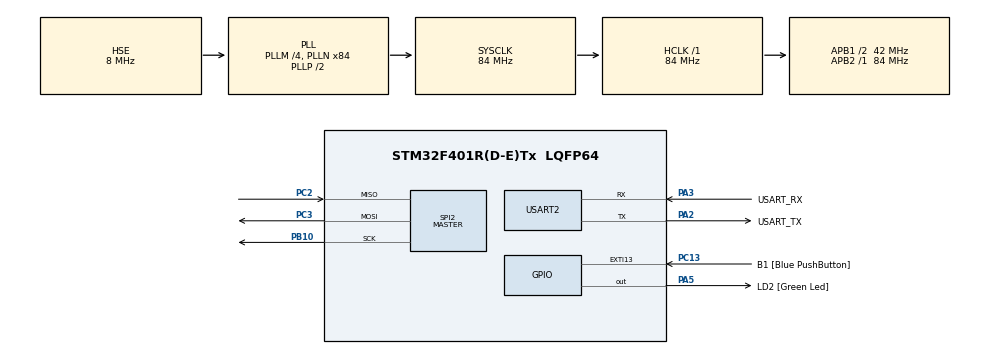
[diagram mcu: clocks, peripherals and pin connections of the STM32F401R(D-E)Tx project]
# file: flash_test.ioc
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Mcu.Family=STM32F4
PC3.Mode=Full_Duplex_Master
RCC.PLLSourceVirtual=RCC_PLLSOURCE_HSE
PC15-OSC32_OUT.Mode=LSE-External-Oscillator
PA2.GPIO_PuPd=GPIO_NOPULL
RCC.CortexFreq_Value=84000000
FREERTOS.Tasks01=defaultTask,0,128,StartDefaultTask,Default,NULL,Dynamic,NULL,NULL;myTask02,-3,128,StartTask02,Default,NULL,Dynamic,NULL,NULL
PC13-ANTI_TAMP.GPIO_PuPd=GPIO_NOPULL
SPI2.VirtualType=VM_MASTER
PB10.Mode=Full_Duplex_Master
PC13-ANTI_TAMP.GPIO_Label=B1 [Blue PushButton]
PA14.GPIO_Label=TCK
PA3.GPIO_PuPd=GPIO_NOPULL
PH1\ -\ OSC_OUT.Mode=HSE-External-Clock-Source
PC2.Signal=SPI2_MISO
PA2.GPIO_Speed=GPIO_SPEED_FREQ_LOW
PC2.Mode=Full_Duplex_Master
RCC.APB1CLKDivider=RCC_HCLK_DIV2
PC14-OSC32_IN.Signal=RCC_OSC32_IN
PA3.GPIO_Speed=GPIO_SPEED_FREQ_LOW
RCC.SYSCLKSource=RCC_SYSCLKSOURCE_PLLCLK
ProjectManager.StackSize=0x400
PA3.Mode=Asynchronous
PA13.Signal=SYS_JTMS-SWDIO
PH0\ -\ OSC_IN.Mode=HSE-External-Clock-Source
PH0\ -\ OSC_IN.Signal=RCC_OSC_IN
ProjectManager.TargetToolchain=TrueSTUDIO
PA3.GPIO_Mode=GPIO_MODE_AF_PP
RCC.HCLKFreq_Value=84000000
RCC.APB2TimFreq_Value=84000000
PC3.Signal=SPI2_MOSI
PC15-OSC32_OUT.Signal=RCC_OSC32_OUT
RCC.AHBFreq_Value=84000000
PB10.Signal=SPI2_SCK
PA5.Signal=GPIO_Output
RCC.HSE_VALUE=8000000
PH1\ -\ OSC_OUT.Signal=RCC_OSC_OUT
board=NUCLEO-F401RE
PC13-ANTI_TAMP.Signal=GPXTI13
RCC.VCOOutputFreq_Value=168000000
RCC.APB2Freq_Value=84000000
PC14-OSC32_IN.Mode=LSE-External-Oscillator
PA14.Mode=Serial_Wire
PA5.GPIO_PuPd=GPIO_NOPULL
NVIC.TIM2_IRQn=true\:0\:0\:false\:false\:true\:false\:false\:true
VP_FREERTOS_VS_CMSIS_V1.Mode=CMSIS_V1
PA13.Mode=Serial_Wire
Mcu.Name=STM32F401R(D-E)Tx
PA2.Signal=USART2_TX
PA13.GPIO_Label=TMS
RCC.48MHZClocksFreq_Value=24000000
PB3.Signal=SYS_JTDO-SWO
RCC.SYSCLKFreq_VALUE=84000000
Mcu.Package=LQFP64
VP_SYS_VS_tim2.Mode=TIM2
NVIC.TimeBase=TIM2_IRQn
SPI2.Mode=SPI_MODE_MASTER
PA5.GPIO_Label=LD2 [Green Led]
USART2.VirtualMode=VM_ASYNC
PC13-ANTI_TAMP.GPIO_ModeDefaultEXTI=GPIO_MODE_IT_FALLING
PA2.GPIO_Label=USART_TX
NVIC.TimeBaseIP=TIM2
PA14.Signal=SYS_JTCK-SWCLK
ProjectManager.HeapSize=0x200
RCC.HSI_VALUE=16000000
PA5.GPIO_Speed=GPIO_SPEED_FREQ_LOW
RCC.PLLQ=7
NVIC.PriorityGroup=NVIC_PRIORITYGROUP_4
RCC.PLLM=4
RCC.PLLN=84
RCC.APB1TimFreq_Value=84000000
PA2.Mode=Asynchronous
SPI2.Direction=SPI_DIRECTION_2LINES
RCC.APB1Freq_Value=42000000
PA5.GPIO_Mode=GPIO_MODE_OUTPUT_PP
VP_TIM3_VS_ClockSourceINT.Mode=Internal
PA3.GPIO_Label=USART_RX
PA3.Signal=USART2_RX
PA2.GPIO_Mode=GPIO_MODE_AF_PP
PB3.GPIO_Label=SWO

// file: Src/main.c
/* USER CODE BEGIN Header */
/**
  ******************************************************************************
  * @file           : main.c
  * @brief          : Main program body
  ******************************************************************************
  * @attention
  *
  * <h2><center>&copy; Copyright (c) 2020 STMicroelectronics.
  * All rights reserved.</center></h2>
  *
  * This software component is licensed by ST under Ultimate Liberty license
  * SLA0044, the "License"; You may not use this file except in compliance with
  * the License. You may obtain a copy of the License at:
  *                             www.st.com/SLA0044
  *
  ******************************************************************************
  */
/* USER CODE END Header */

#include "main.h"
#include "cmsis_os.h"

/* USER CODE BEGIN Includes */
#include "stdio.h"
#include "stdbool.h"
#include "stdint.h"
#include "stdlib.h"
#include <string.h>
user_config_t __uninited_region_start__ __attribute__((section("UNINIT_FIXED_LOC")));
const  user_config_t	*lUserConfigPtr = &__uninited_region_start__;
#define PEM_READ_BUFFER_SIZE  8192  /**< Max size which can be got from the terminal in a single getInputString(). */

/* USER CODE END Includes */

SPI_HandleTypeDef hspi2;

TIM_HandleTypeDef htim3;

UART_HandleTypeDef huart2;

osThreadId defaultTaskHandle;
osThreadId myTask02Handle;

void SystemClock_Config(void);
static void MX_GPIO_Init(void);
static void MX_SPI2_Init(void);
static void MX_TIM3_Init(void);
static void MX_USART2_UART_Init(void);
void StartDefaultTask(void const * argument);
void StartTask02(void const * argument);
int getInputString(char *inputString, size_t len)
;
int enterPemString(char * read_buffer, size_t max_len)
;/* USER CODE BEGIN PFP */
int enterPemString(char * read_buffer, size_t max_len)
{
  int i = 0;
  int read_len = 0;
  bool eof = false;
  read_len = getInputString(&read_buffer[i], max_len);

  while ( (read_len >= 0) && (i < max_len) && !eof )
  {
    i += read_len;
    read_buffer[i++] = '\n';
    read_len = getInputString(&read_buffer[i], max_len);
    eof = (strncmp(&read_buffer[i], "-----END",8) == 0);
    if (eof)
    {
        i += read_len;
        read_buffer[i++] = '\n';
        read_len = getInputString(&read_buffer[i], max_len);
        if (read_len != 0) eof =false;
    }
  }

  if (i >= max_len)
  {
   printf("Certificate is too long , allocated size is %d\n",max_len);
   return 0;
  }
  read_buffer[++i] = '\0';
  return i;
}

DataLogTypeDef my_data;
int getInputString(char *inputString, size_t len)
{
  size_t currLen = 0;
  int c = 0;

  c = getchar();

  while ((c != EOF) && ((currLen + 1) < len) && (c != '\r') && (c != '\n') )
  {
    if (c == '\b')
    {
      if (currLen != 0)
      {
        --currLen;
        inputString[currLen] = 0;
        printf(" \b");
      }
    }
    else
    {
      if (currLen < (len-1))
      {
        inputString[currLen] = c;
      }

      ++currLen;
    }
    c = getchar();
  }
  if (currLen != 0)
  { /* Close the string in the input buffer... only if a string was written to it. */
    inputString[currLen] = '\0';
  }
  if (c == '\r')
  {
    c = getchar(); /* assume there is '\n' after '\r'. Just discard it. */
  }

  return currLen;
}
/* USER CODE END PFP */

/* USER CODE BEGIN 0 */

#if (defined(__GNUC__) && !defined(__CC_ARM))
/* With GCC/RAISONANCE, small printf (option LD Linker->Libraries->Small printf
   set to 'Yes') calls __io_putchar() */
#define PUTCHAR_PROTOTYPE int __io_putchar(int ch)
#define GETCHAR_PROTOTYPE int __io_getchar(void)
#else
#define PUTCHAR_PROTOTYPE int fputc(int ch, FILE *f)
#define GETCHAR_PROTOTYPE int fgetc(FILE *f)
#endif /* __GNUC__ */

/**
  * @brief  Retargets the C library printf function to the USART.
  * @param  None
  * @retval None
  */
PUTCHAR_PROTOTYPE
{
  /* Place your implementation of fputc here */
  /* e.g. write a character to the USART2 and Loop until the end of transmission */
  while (HAL_OK != HAL_UART_Transmit(&huart2, (uint8_t *) &ch, 1, 30000))
  {
    ;
  }
  return ch;
}

/**
  * @brief  Retargets the C library scanf function to the USART.
  * @param  None
  * @retval None
  */
GETCHAR_PROTOTYPE
{
  /* Place your implementation of fgetc here */
  /* e.g. read a character on USART and loop until the end of read */
  uint8_t ch = 0;
  while (HAL_OK != HAL_UART_Receive(&huart2, (uint8_t *)&ch, 1, 30000))
  {
    ;
  }
  return ch;
}
/* USER CODE END 0 */

int main(void)
{

  /* MCU Configuration--------------------------------------------------------*/

  /* Reset of all peripherals, Initializes the Flash interface and the Systick. */
  HAL_Init();

  /* Configure the system clock */
  SystemClock_Config();

  /* Initialize all configured peripherals */
  MX_GPIO_Init();
  MX_SPI2_Init();
  MX_TIM3_Init();
  MX_USART2_UART_Init();
  /* USER CODE BEGIN 2 */
  printf("\n\r hello world \n\r");
  /*int i;
  uint8_t *data_p = &my_data;
  flash_address = 0x08000000;//put first flash address here

  for ( i = 0; i < sizeof(DataLogTypeDef); i++, data_p++, flash_address++ )
      HAL_FLASH_Program(type_byte, flash_address, *data_p);*/
  /* USER CODE END 2 */

  /* Create the thread(s) */
  /* definition and creation of defaultTask */
  osThreadDef(defaultTask, StartDefaultTask, osPriorityNormal, 0, 20480);
  defaultTaskHandle = osThreadCreate(osThread(defaultTask), NULL);

  /* definition and creation of myTask02 */
 // osThreadDef(myTask02, StartTask02, osPriorityIdle, 0, 1024);
 // myTask02Handle = osThreadCreate(osThread(myTask02), NULL);

  /* Start scheduler */
  osKernelStart();

  /* We should never get here as control is now taken by the scheduler */
  /* Infinite loop */
  while (1)
  {

  }
}

void SystemClock_Config(void)
{
  RCC_OscInitTypeDef RCC_OscInitStruct = {0};
  RCC_ClkInitTypeDef RCC_ClkInitStruct = {0};

  /** Configure the main internal regulator output voltage
  */
  __HAL_RCC_PWR_CLK_ENABLE();
  __HAL_PWR_VOLTAGESCALING_CONFIG(PWR_REGULATOR_VOLTAGE_SCALE2);
  /** Initializes the CPU, AHB and APB busses clocks
  */
  RCC_OscInitStruct.OscillatorType = RCC_OSCILLATORTYPE_HSE;
  RCC_OscInitStruct.HSEState = RCC_HSE_BYPASS;
  RCC_OscInitStruct.PLL.PLLState = RCC_PLL_ON;
  RCC_OscInitStruct.PLL.PLLSource = RCC_PLLSOURCE_HSE;
  RCC_OscInitStruct.PLL.PLLM = 4;
  RCC_OscInitStruct.PLL.PLLN = 84;
  RCC_OscInitStruct.PLL.PLLP = RCC_PLLP_DIV2;
  RCC_OscInitStruct.PLL.PLLQ = 7;
  if (HAL_RCC_OscConfig(&RCC_OscInitStruct) != HAL_OK)
  {
    Error_Handler();
  }
  /** Initializes the CPU, AHB and APB busses clocks
  */
  RCC_ClkInitStruct.ClockType = RCC_CLOCKTYPE_HCLK|RCC_CLOCKTYPE_SYSCLK
                              |RCC_CLOCKTYPE_PCLK1|RCC_CLOCKTYPE_PCLK2;
  RCC_ClkInitStruct.SYSCLKSource = RCC_SYSCLKSOURCE_PLLCLK;
  RCC_ClkInitStruct.AHBCLKDivider = RCC_SYSCLK_DIV1;
  RCC_ClkInitStruct.APB1CLKDivider = RCC_HCLK_DIV2;
  RCC_ClkInitStruct.APB2CLKDivider = RCC_HCLK_DIV1;

  if (HAL_RCC_ClockConfig(&RCC_ClkInitStruct, FLASH_LATENCY_2) != HAL_OK)
  {
    Error_Handler();
  }
}

static void MX_SPI2_Init(void)
{

  /* SPI2 parameter configuration*/
  hspi2.Instance = SPI2;
  hspi2.Init.Mode = SPI_MODE_MASTER;
  hspi2.Init.Direction = SPI_DIRECTION_2LINES;
  hspi2.Init.DataSize = SPI_DATASIZE_8BIT;
  hspi2.Init.CLKPolarity = SPI_POLARITY_LOW;
  hspi2.Init.CLKPhase = SPI_PHASE_1EDGE;
  hspi2.Init.NSS = SPI_NSS_SOFT;
  hspi2.Init.BaudRatePrescaler = SPI_BAUDRATEPRESCALER_2;
  hspi2.Init.FirstBit = SPI_FIRSTBIT_MSB;
  hspi2.Init.TIMode = SPI_TIMODE_DISABLE;
  hspi2.Init.CRCCalculation = SPI_CRCCALCULATION_DISABLE;
  hspi2.Init.CRCPolynomial = 10;
  if (HAL_SPI_Init(&hspi2) != HAL_OK)
  {
    Error_Handler();
  }

}

static void MX_TIM3_Init(void)
{

  TIM_ClockConfigTypeDef sClockSourceConfig = {0};
  TIM_MasterConfigTypeDef sMasterConfig = {0};

  htim3.Instance = TIM3;
  htim3.Init.Prescaler = 0;
  htim3.Init.CounterMode = TIM_COUNTERMODE_UP;
  htim3.Init.Period = 0;
  htim3.Init.ClockDivision = TIM_CLOCKDIVISION_DIV1;
  htim3.Init.AutoReloadPreload = TIM_AUTORELOAD_PRELOAD_DISABLE;
  if (HAL_TIM_Base_Init(&htim3) != HAL_OK)
  {
    Error_Handler();
  }
  sClockSourceConfig.ClockSource = TIM_CLOCKSOURCE_INTERNAL;
  if (HAL_TIM_ConfigClockSource(&htim3, &sClockSourceConfig) != HAL_OK)
  {
    Error_Handler();
  }
  sMasterConfig.MasterOutputTrigger = TIM_TRGO_RESET;
  sMasterConfig.MasterSlaveMode = TIM_MASTERSLAVEMODE_DISABLE;
  if (HAL_TIMEx_MasterConfigSynchronization(&htim3, &sMasterConfig) != HAL_OK)
  {
    Error_Handler();
  }

}

static void MX_USART2_UART_Init(void)
{

  huart2.Instance = USART2;
  huart2.Init.BaudRate = 115200;
  huart2.Init.WordLength = UART_WORDLENGTH_8B;
  huart2.Init.StopBits = UART_STOPBITS_1;
  huart2.Init.Parity = UART_PARITY_NONE;
  huart2.Init.Mode = UART_MODE_TX_RX;
  huart2.Init.HwFlowCtl = UART_HWCONTROL_NONE;
  huart2.Init.OverSampling = UART_OVERSAMPLING_16;
  if (HAL_UART_Init(&huart2) != HAL_OK)
  {
    Error_Handler();
  }

}

static void MX_GPIO_Init(void)
{
  GPIO_InitTypeDef GPIO_InitStruct = {0};

  /* GPIO Ports Clock Enable */
  __HAL_RCC_GPIOC_CLK_ENABLE();
  __HAL_RCC_GPIOH_CLK_ENABLE();
  __HAL_RCC_GPIOA_CLK_ENABLE();
  __HAL_RCC_GPIOB_CLK_ENABLE();

  /*Configure GPIO pin Output Level */
  HAL_GPIO_WritePin(LD2_GPIO_Port, LD2_Pin, GPIO_PIN_RESET);

  /*Configure GPIO pin : B1_Pin */
  GPIO_InitStruct.Pin = B1_Pin;
  GPIO_InitStruct.Mode = GPIO_MODE_IT_FALLING;
  GPIO_InitStruct.Pull = GPIO_NOPULL;
  HAL_GPIO_Init(B1_GPIO_Port, &GPIO_InitStruct);

  /*Configure GPIO pin : LD2_Pin */
  GPIO_InitStruct.Pin = LD2_Pin;
  GPIO_InitStruct.Mode = GPIO_MODE_OUTPUT_PP;
  GPIO_InitStruct.Pull = GPIO_NOPULL;
  GPIO_InitStruct.Speed = GPIO_SPEED_FREQ_LOW;
  HAL_GPIO_Init(LD2_GPIO_Port, &GPIO_InitStruct);

}

void StartDefaultTask(void const * argument)
{
  /* USER CODE BEGIN 5 */
char * key_read_buffer = NULL;
//int    ret = 0;
key_read_buffer = pvPortMalloc(PEM_READ_BUFFER_SIZE);
if (key_read_buffer == NULL)
{
  printf("Could not allocate %d bytes for the console readbuffer.\n", PEM_READ_BUFFER_SIZE);

}
memset(key_read_buffer, 0, PEM_READ_BUFFER_SIZE);
printf("\nEnter your certificate\n\r");
enterPemString(key_read_buffer, PEM_READ_BUFFER_SIZE);
uint32_t flash_address = 0x08000000;//put first flash address here
int i;
for ( i = 0; i < sizeof(lUserConfigPtr->tls_root_ca_cert); i++, key_read_buffer++, flash_address++ )
    HAL_FLASH_Program(FLASH_TYPEPROGRAM_BYTE, flash_address, *key_read_buffer);
  /* Infinite loop */
  for(;;)
  {
    osDelay(1);
  }
  /* USER CODE END 5 */
}

void StartTask02(void const * argument)
{
  for(;;)
  {
    osDelay(1);
  }
}

 /**
  * @brief  Period elapsed callback in non blocking mode
  * @note   This function is called  when TIM2 interrupt took place, inside
  * HAL_TIM_IRQHandler(). It makes a direct call to HAL_IncTick() to increment
  * a global variable "uwTick" used as application time base.
  * @param  htim : TIM handle
  * @retval None
  */
void HAL_TIM_PeriodElapsedCallback(TIM_HandleTypeDef *htim)
{
  if (htim->Instance == TIM2) {
    HAL_IncTick();
  }
}

void Error_Handler(void)
{
}

/************************ (C) COPYRIGHT STMicroelectronics *****END OF FILE****/
